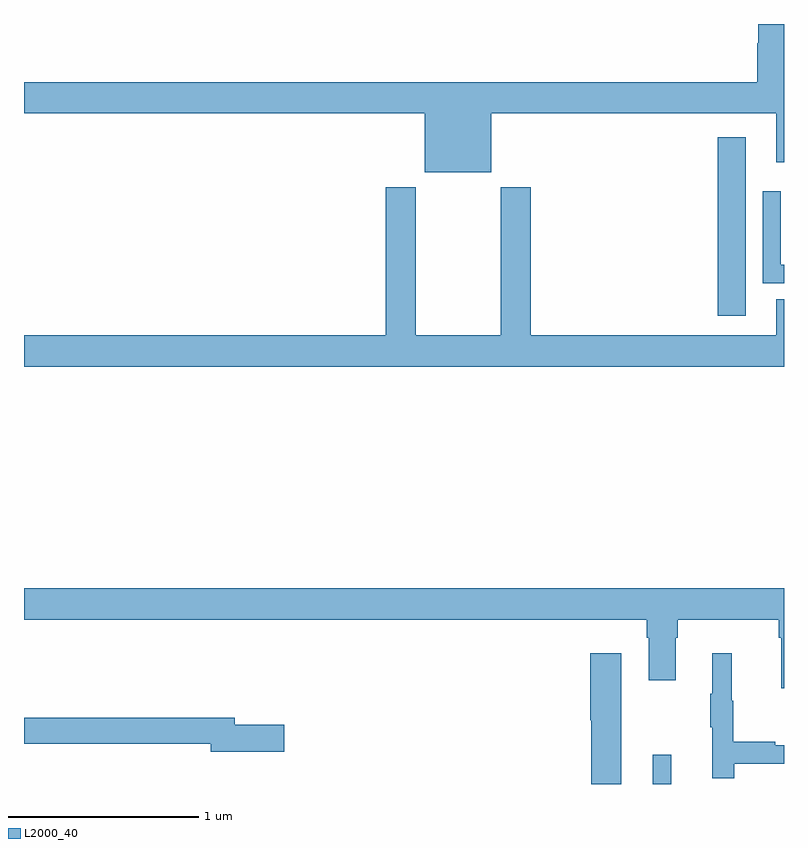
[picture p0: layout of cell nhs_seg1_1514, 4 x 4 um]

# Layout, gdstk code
import gdstk
lib = gdstk.Library(unit=1e-6, precision=1e-09)
def R(c, l, rs):  # rectangles x0, y0, x1, y1
    for r in rs: c.add(gdstk.rectangle(r[:2], r[2:], *l))
def P(c, l, *ps):  # polygons
    for p in ps: c.add(gdstk.Polygon(p, *l))
L2000_40 = (2000, 40)

nhs_seg1_1514 = lib.new_cell('nhs_seg1_1514')
R(nhs_seg1_1514, L2000_40, [(196.31,552.199,196.407,552.352), (196.652,554.664,196.798,555.604)])
P(nhs_seg1_1514, L2000_40, [(195.46,555.728),(196.958,555.728),(196.958,555.471),(197,555.471),(197,556.199),(196.865,556.199),(196.865,556.097),(196.859,556.097),(196.859,555.892),(193,555.892),(193,555.728),(195.11,555.728),(195.11,555.419),(195.46,555.419)],
  [(197,554.75),(196.958,554.75),(196.958,554.56),(195.668,554.56),(195.668,555.34),(195.508,555.34),(195.508,554.56),(195.063,554.56),(195.063,555.34),(194.903,555.34),(194.903,554.56),(193,554.56),(193,554.396),(197,554.396)],
  [(197,554.931),(196.983,554.931),(196.983,555.319),(196.887,555.319),(196.887,554.835),(197,554.835)],
  [(197,553.228),(193,553.228),(193,553.064),(196.277,553.064),(196.277,552.968),(196.289,552.968),(196.289,552.744),(196.429,552.744),(196.429,552.968),(196.442,552.968),(196.442,553.064),(196.973,553.064),(196.973,552.968),(196.985,552.968),(196.985,552.702),(197,552.702)],
  [(196.739,552.306),(197,552.306),(197,552.402),(196.955,552.402),(196.955,552.422),(196.732,552.422),(196.732,552.636),(196.724,552.636),(196.724,552.886),(196.622,552.886),(196.622,552.673),(196.611,552.673),(196.611,552.499),(196.622,552.499),(196.622,552.228),(196.739,552.228)],
  [(196.144,552.886),(195.98,552.886),(195.98,552.534),(195.986,552.534),(195.986,552.199),(196.144,552.199)],
  [(194.371,552.512),(194.11,552.512),(194.11,552.548),(193,552.548),(193,552.412),(193.982,552.412),(193.982,552.37),(194.371,552.37)])

lib.write_gds('nhs_seg1_1514.gds')
